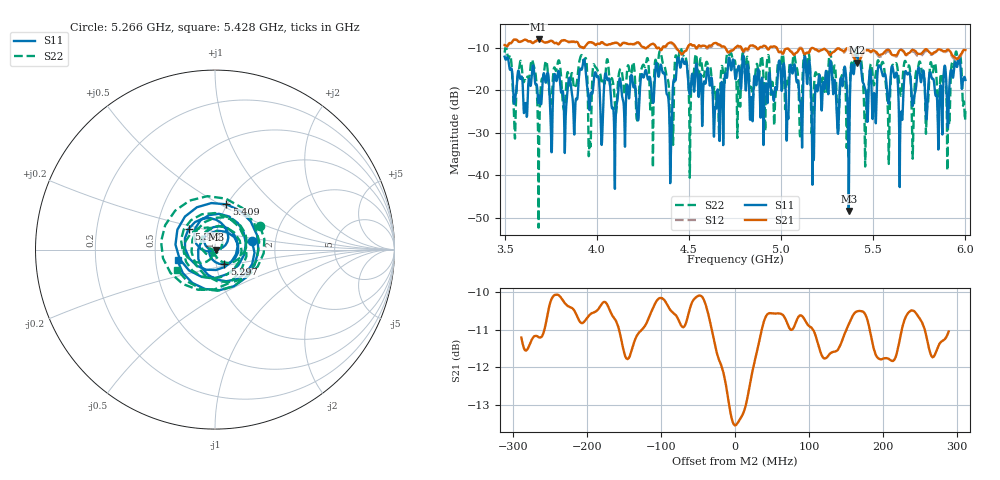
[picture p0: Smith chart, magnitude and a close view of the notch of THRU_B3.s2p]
# Hz S RI R 50
! RAW DATA - UNCALIBRATED
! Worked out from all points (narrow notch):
!   1601 points, 3.5 GHz to 6 GHz, reference 50 ohm
!   highest |S21| = -7.98 dB at 3.684 GHz (marker M1); lowest = -13.5 dB at 5.411 GHz (marker M2)
!   notch at M2: 3.5 dB deep, 48.4 MHz wide at half that depth
!   lowest |S11| = -48.5 dB at 5.367 GHz (marker M3), VSWR 1.01, Z = 50.4 - j0.105 ohm
!   |S11| at or under -10 dB: start of sweep to end of sweep
!   |S22| runs from -52.4 to -9.9 dB; largest |S21 - S12| = 0.2
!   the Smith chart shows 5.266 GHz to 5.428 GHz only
!   S11 on the Smith chart (normalised r, x): 5.266 GHz: 1.51, +0.15; 5.297 GHz: 1.09, -0.18; 5.344 GHz: 0.73, +0.17; 5.409 GHz: 0.99, +0.54; 5.428 GHz: 0.65, -0.08
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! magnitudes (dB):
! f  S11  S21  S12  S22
! 3.5 GHz  -12.1  -9.4  -9.5  -11.2
! 3.684 GHz  -23.0  -8.0  -8.1  -52.4
! 3.917 GHz  -15.2  -9.8  -9.9  -11.7
! 3.962 GHz  -23.9  -8.7  -8.7  -31.5
! 3.991 GHz  -15.8  -9.3  -9.3  -14.4
! 4.334 GHz  -16.8  -10.0  -10.0  -12.8
! 4.405 GHz  -31.8  -8.8  -9.0  -26.5
! 4.456 GHz  -14.4  -11.4  -11.5  -10.1
! 4.75 GHz  -16.6  -10.0  -10.3  -13.1
! 5.141 GHz  -18.4  -11.2  -11.2  -14.8
! 5.167 GHz  -28.9  -10.1  -10.2  -28.9
! 5.266 GHz  -13.5  -11.8  -11.7  -11.0
! 5.297 GHz  -20.2  -10.6  -10.5  -16.5
! 5.344 GHz  -14.6  -10.9  -11.1  -15.3
! 5.367 GHz  -48.5  -10.1  -10.5  -36.1
! 5.409 GHz  -11.7  -13.5  -13.6  -10.2
! 5.411 GHz  -11.8  -13.5  -13.7  -10.4
! 5.428 GHz  -13.3  -12.8  -12.8  -12.5
! 5.584 GHz  -23.0  -10.5  -10.9  -37.4
! 5.908 GHz  -25.8  -10.5  -10.8  -26.3
! 5.958 GHz  -13.9  -12.6  -13.1  -12.9
! 6 GHz  -17.6  -10.6  -10.7  -24.8
